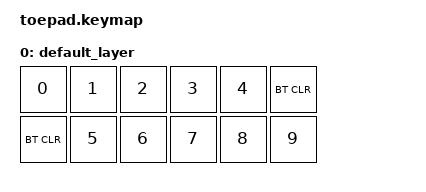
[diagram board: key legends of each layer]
#include <behaviors.dtsi>
#include <dt-bindings/zmk/keys.h>
#include <dt-bindings/zmk/bt.h>


/ {
    keymap {
        compatible = "zmk,keymap";

        default_layer { bindings = <
            &kp N0  &kp N1  &kp N2  &kp N3  &kp N4 &bt BT_CLR
            &bt BT_CLR &kp N5  &kp N6  &kp N7  &kp N8  &kp N9
            >;
        };
    };
};
